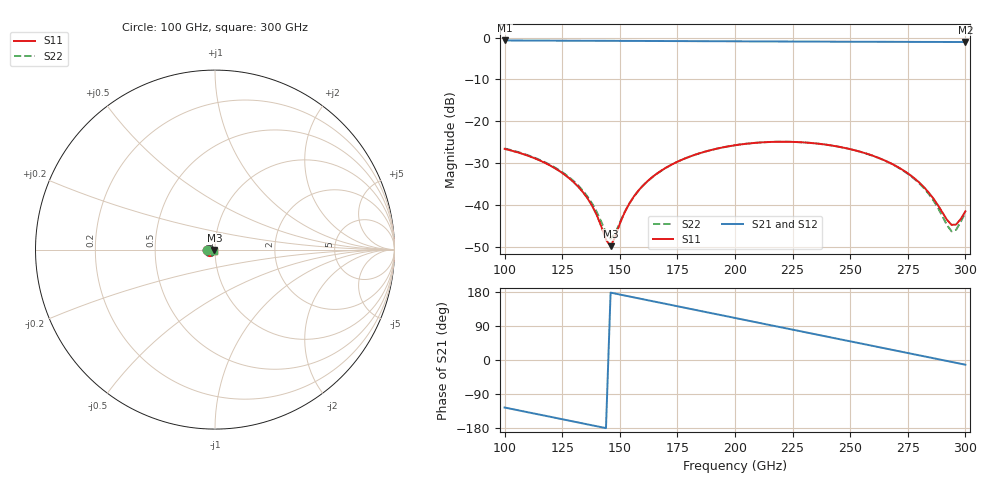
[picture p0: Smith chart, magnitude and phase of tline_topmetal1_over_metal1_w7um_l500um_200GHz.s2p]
#  GHZ S DB R 50
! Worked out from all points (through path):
!   101 points, 100 GHz to 300 GHz, reference 50 ohm
!   highest |S21| = -0.69 dB at 100 GHz (marker M1); lowest = -1.1 dB at 300 GHz (marker M2)
!   group delay of S21, straight-line fit = 3.43 ps
!   lowest |S11| = -49.9 dB at 146 GHz (marker M3), VSWR 1.01, Z = 49.7 - j0.156 ohm
!   |S11| at or under -10 dB: start of sweep to end of sweep
!   |S22| runs from -48.1 to -24.9 dB; largest |S21 - S12| = 1e-14
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100  -26.63 -178.2  -0.69 -125.4  -0.69 -125.4  -26.53 -177.4
120  -30.68 155.9  -0.74 -150.1  -0.74 -150.1  -30.52 157.3
128  -33.63 147.5  -0.75 -160.0  -0.75 -160.0  -33.41 149.4
134  -36.97 143.5  -0.76 -167.4  -0.76 -167.4  -36.63 146.2
138  -40.26 144.3  -0.77 -172.4  -0.77 -172.4  -39.72 147.7
144  -48.36 173.7  -0.78 -179.8  -0.78 -179.8  -46.68 175.4
146  -49.89 -150.7  -0.79 177.7  -0.79 177.7  -48.10 -156.4
148  -47.65 -118.6  -0.79 175.3  -0.79 175.3  -46.81 -127.6
152  -41.91 -97.0  -0.80 170.3  -0.80 170.3  -41.85 -102.4
156  -38.09 -93.7  -0.81 165.4  -0.81 165.4  -38.13 -97.0
168  -31.82 -101.7  -0.83 150.5  -0.83 150.5  -31.85 -103.0
182  -28.14 -117.2  -0.86 133.2  -0.86 133.2  -28.16 -117.8
200  -25.76 -138.8  -0.90 110.9  -0.90 110.9  -25.75 -139.1
216  -24.96 -158.3  -0.93 91.2  -0.93 91.2  -24.95 -158.3
234  -25.26 -179.8  -0.97 69.0  -0.97 69.0  -25.26 -179.8
252  -26.95 159.5  -1.00 46.8  -1.00 46.8  -26.96 159.4
268  -30.17 143.1  -1.02 27.1  -1.02 27.1  -30.23 142.6
282  -35.77 135.8  -1.04 9.8  -1.04 9.8  -36.02 134.2
286  -38.41 138.7  -1.05 4.8  -1.05 4.8  -38.85 136.5
294  -44.80 -179.8  -1.06 -5.0  -1.06 -5.0  -46.35 -176.9
296  -44.71 -158.3  -1.06 -7.5  -1.06 -7.5  -45.95 -151.0
300  -41.57 -129.3  -1.07 -12.5  -1.07 -12.5  -41.88 -121.4
